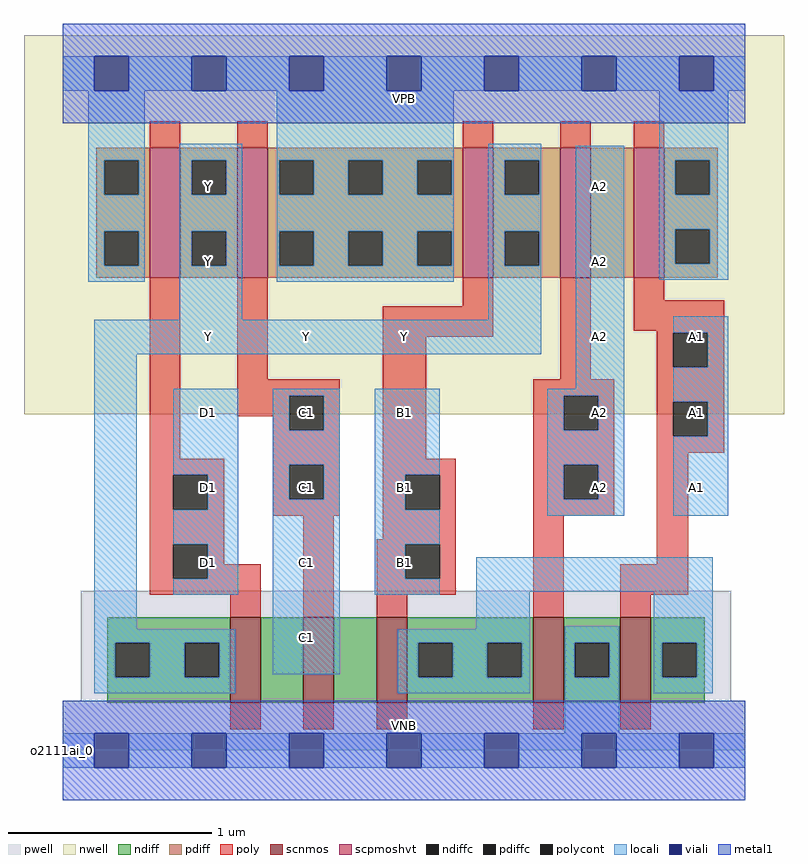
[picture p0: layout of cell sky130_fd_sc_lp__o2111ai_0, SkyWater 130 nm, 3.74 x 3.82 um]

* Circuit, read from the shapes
.subckt sky130_fd_sc_lp__o2111ai_0 A1 A2 B1 C1 D1 VGND VNB VPB VPWR Y
XM1 n1 D1 Y VNB sky130_fd_pr__nfet_01v8 w=0.42 l=0.15
XM2 n2 C1 n1 VNB sky130_fd_pr__nfet_01v8 w=0.42 l=0.15
XM3 n3 B1 n2 VNB sky130_fd_pr__nfet_01v8 w=0.42 l=0.15
XM4 VGND A2 n3 VNB sky130_fd_pr__nfet_01v8 w=0.42 l=0.15
XM5 n3 A1 VGND VNB sky130_fd_pr__nfet_01v8 w=0.42 l=0.15
XM6 Y D1 VPWR VPB sky130_fd_pr__pfet_01v8_hvt w=0.64 l=0.15
XM7 VPWR C1 Y VPB sky130_fd_pr__pfet_01v8_hvt w=0.64 l=0.15
XM8 Y B1 VPWR VPB sky130_fd_pr__pfet_01v8_hvt w=0.64 l=0.15
XM9 n4 A2 Y VPB sky130_fd_pr__pfet_01v8_hvt w=0.64 l=0.15
XM10 VPWR A1 n4 VPB sky130_fd_pr__pfet_01v8_hvt w=0.64 l=0.15
.ends

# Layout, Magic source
magic
tech sky130A
magscale 1 2
<< nwell >>
rect -38 331 710 704
<< pwell >>
rect 18 49 658 157
rect 0 0 672 49
<< scnmos >>
rect 165 47 195 131
rect 237 47 267 131
rect 309 47 339 131
rect 463 47 493 131
rect 549 47 579 131
<< scpmoshvt >>
rect 86 465 116 593
rect 172 465 202 593
rect 394 465 424 593
rect 490 465 520 593
rect 562 465 592 593
<< ndiff >>
rect 44 106 165 131
rect 44 72 52 106
rect 86 72 120 106
rect 154 72 165 106
rect 44 47 165 72
rect 195 47 237 131
rect 267 47 309 131
rect 339 106 463 131
rect 339 72 350 106
rect 384 72 418 106
rect 452 72 463 106
rect 339 47 463 72
rect 493 106 549 131
rect 493 72 504 106
rect 538 72 549 106
rect 493 47 549 72
rect 579 106 632 131
rect 579 72 590 106
rect 624 72 632 106
rect 579 47 632 72
<< pdiff >>
rect 33 581 86 593
rect 33 547 41 581
rect 75 547 86 581
rect 33 511 86 547
rect 33 477 41 511
rect 75 477 86 511
rect 33 465 86 477
rect 116 581 172 593
rect 116 547 127 581
rect 161 547 172 581
rect 116 511 172 547
rect 116 477 127 511
rect 161 477 172 511
rect 116 465 172 477
rect 202 581 394 593
rect 202 547 213 581
rect 247 547 281 581
rect 315 547 349 581
rect 383 547 394 581
rect 202 511 394 547
rect 202 477 213 511
rect 247 477 281 511
rect 315 477 349 511
rect 383 477 394 511
rect 202 465 394 477
rect 424 581 490 593
rect 424 547 435 581
rect 469 547 490 581
rect 424 511 490 547
rect 424 477 435 511
rect 469 477 490 511
rect 424 465 490 477
rect 520 465 562 593
rect 592 581 645 593
rect 592 547 603 581
rect 637 547 645 581
rect 592 513 645 547
rect 592 479 603 513
rect 637 479 645 513
rect 592 465 645 479
<< ndiffc >>
rect 52 72 86 106
rect 120 72 154 106
rect 350 72 384 106
rect 418 72 452 106
rect 504 72 538 106
rect 590 72 624 106
<< pdiffc >>
rect 41 547 75 581
rect 41 477 75 511
rect 127 547 161 581
rect 127 477 161 511
rect 213 547 247 581
rect 281 547 315 581
rect 349 547 383 581
rect 213 477 247 511
rect 281 477 315 511
rect 349 477 383 511
rect 435 547 469 581
rect 435 477 469 511
rect 603 547 637 581
rect 603 479 637 513
<< poly >>
rect 86 593 116 619
rect 172 593 202 619
rect 394 593 424 619
rect 490 593 520 619
rect 562 593 592 619
rect 86 287 116 465
rect 172 365 202 465
rect 394 437 424 465
rect 315 407 424 437
rect 172 349 273 365
rect 172 329 223 349
rect 207 315 223 329
rect 257 315 273 349
rect 86 271 159 287
rect 86 237 109 271
rect 143 237 159 271
rect 86 203 159 237
rect 207 281 273 315
rect 207 247 223 281
rect 257 247 273 281
rect 207 231 273 247
rect 315 287 358 407
rect 490 365 520 465
rect 562 443 592 465
rect 562 413 651 443
rect 585 411 651 413
rect 585 377 601 411
rect 635 377 651 411
rect 463 349 543 365
rect 463 315 493 349
rect 527 315 543 349
rect 315 271 387 287
rect 315 237 337 271
rect 371 237 387 271
rect 86 169 109 203
rect 143 183 159 203
rect 143 169 195 183
rect 86 153 195 169
rect 165 131 195 153
rect 237 131 267 231
rect 315 208 387 237
rect 309 203 387 208
rect 309 169 337 203
rect 371 169 387 203
rect 309 153 387 169
rect 463 281 543 315
rect 463 247 493 281
rect 527 247 543 281
rect 463 231 543 247
rect 585 343 651 377
rect 585 309 601 343
rect 635 309 651 343
rect 585 293 651 309
rect 309 131 339 153
rect 463 131 493 231
rect 585 183 616 293
rect 549 153 616 183
rect 549 131 579 153
rect 165 21 195 47
rect 237 21 267 47
rect 309 21 339 47
rect 463 21 493 47
rect 549 21 579 47
<< polycont >>
rect 223 315 257 349
rect 109 237 143 271
rect 223 247 257 281
rect 601 377 635 411
rect 493 315 527 349
rect 337 237 371 271
rect 109 169 143 203
rect 337 169 371 203
rect 493 247 527 281
rect 601 309 635 343
<< locali >>
rect 0 649 31 683
rect 65 649 127 683
rect 161 649 223 683
rect 257 649 319 683
rect 353 649 415 683
rect 449 649 511 683
rect 545 649 607 683
rect 641 649 672 683
rect 25 581 81 649
rect 25 547 41 581
rect 75 547 81 581
rect 25 511 81 547
rect 25 477 41 511
rect 75 477 81 511
rect 25 461 81 477
rect 115 581 177 597
rect 115 547 127 581
rect 161 547 177 581
rect 115 511 177 547
rect 115 477 127 511
rect 161 477 177 511
rect 115 424 177 477
rect 211 581 385 649
rect 211 547 213 581
rect 247 547 281 581
rect 315 547 349 581
rect 383 547 385 581
rect 211 511 385 547
rect 211 477 213 511
rect 247 477 281 511
rect 315 477 349 511
rect 383 477 385 511
rect 211 461 385 477
rect 419 581 471 597
rect 419 547 435 581
rect 469 547 471 581
rect 419 511 471 547
rect 419 477 435 511
rect 469 477 471 511
rect 419 424 471 477
rect 31 390 471 424
rect 31 119 73 390
rect 505 356 553 595
rect 587 581 655 649
rect 587 547 603 581
rect 637 547 655 581
rect 587 513 655 547
rect 587 479 603 513
rect 637 479 655 513
rect 587 463 655 479
rect 109 271 173 356
rect 143 237 173 271
rect 109 203 173 237
rect 143 169 173 203
rect 109 153 173 169
rect 207 349 273 356
rect 207 315 223 349
rect 257 315 273 349
rect 207 281 273 315
rect 207 247 223 281
rect 257 247 273 281
rect 31 106 170 119
rect 31 72 52 106
rect 86 72 120 106
rect 154 72 170 106
rect 207 75 273 247
rect 307 271 371 356
rect 307 237 337 271
rect 307 203 371 237
rect 477 349 553 356
rect 477 315 493 349
rect 527 315 553 349
rect 477 281 553 315
rect 477 247 493 281
rect 527 247 553 281
rect 477 231 553 247
rect 601 411 655 427
rect 635 377 655 411
rect 601 343 655 377
rect 635 309 655 343
rect 601 231 655 309
rect 307 169 337 203
rect 307 153 371 169
rect 407 156 640 190
rect 407 119 460 156
rect 330 106 460 119
rect 31 56 170 72
rect 330 72 350 106
rect 384 72 418 106
rect 452 72 460 106
rect 330 56 460 72
rect 494 106 548 122
rect 494 72 504 106
rect 538 72 548 106
rect 494 17 548 72
rect 582 106 640 156
rect 582 72 590 106
rect 624 72 640 106
rect 582 56 640 72
rect 0 -17 31 17
rect 65 -17 127 17
rect 161 -17 223 17
rect 257 -17 319 17
rect 353 -17 415 17
rect 449 -17 511 17
rect 545 -17 607 17
rect 641 -17 672 17
<< viali >>
rect 31 649 65 683
rect 127 649 161 683
rect 223 649 257 683
rect 319 649 353 683
rect 415 649 449 683
rect 511 649 545 683
rect 607 649 641 683
rect 31 -17 65 17
rect 127 -17 161 17
rect 223 -17 257 17
rect 319 -17 353 17
rect 415 -17 449 17
rect 511 -17 545 17
rect 607 -17 641 17
<< metal1 >>
rect 0 683 672 715
rect 0 649 31 683
rect 65 649 127 683
rect 161 649 223 683
rect 257 649 319 683
rect 353 649 415 683
rect 449 649 511 683
rect 545 649 607 683
rect 641 649 672 683
rect 0 617 672 649
rect 0 17 672 49
rect 0 -17 31 17
rect 65 -17 127 17
rect 161 -17 223 17
rect 257 -17 319 17
rect 353 -17 415 17
rect 449 -17 511 17
rect 545 -17 607 17
rect 641 -17 672 17
rect 0 -49 672 -17
<< labels >>
flabel pwell s 0 0 672 49 0 FreeSans 200 0 0 0 VNB
port 7 nsew ground bidirectional
flabel nwell s 0 617 672 666 0 FreeSans 200 0 0 0 VPB
port 8 nsew power bidirectional
rlabel comment s 0 0 0 0 4 o2111ai_0
flabel metal1 s 0 617 672 666 0 FreeSans 340 0 0 0 VPWR
port 9 nsew power bidirectional
flabel metal1 s 0 0 672 49 0 FreeSans 340 0 0 0 VGND
port 6 nsew ground bidirectional
flabel locali s 607 242 641 276 0 FreeSans 340 0 0 0 A1
port 1 nsew signal input
flabel locali s 607 316 641 350 0 FreeSans 340 0 0 0 A1
port 1 nsew signal input
flabel locali s 607 390 641 424 0 FreeSans 340 0 0 0 A1
port 1 nsew signal input
flabel locali s 511 242 545 276 0 FreeSans 340 0 0 0 A2
port 2 nsew signal input
flabel locali s 511 316 545 350 0 FreeSans 340 0 0 0 A2
port 2 nsew signal input
flabel locali s 511 390 545 424 0 FreeSans 340 0 0 0 A2
port 2 nsew signal input
flabel locali s 511 464 545 498 0 FreeSans 340 0 0 0 A2
port 2 nsew signal input
flabel locali s 511 538 545 572 0 FreeSans 340 0 0 0 A2
port 2 nsew signal input
flabel locali s 319 168 353 202 0 FreeSans 340 0 0 0 B1
port 3 nsew signal input
flabel locali s 319 242 353 276 0 FreeSans 340 0 0 0 B1
port 3 nsew signal input
flabel locali s 319 316 353 350 0 FreeSans 340 0 0 0 B1
port 3 nsew signal input
flabel locali s 223 94 257 128 0 FreeSans 340 0 0 0 C1
port 4 nsew signal input
flabel locali s 223 168 257 202 0 FreeSans 340 0 0 0 C1
port 4 nsew signal input
flabel locali s 223 242 257 276 0 FreeSans 340 0 0 0 C1
port 4 nsew signal input
flabel locali s 223 316 257 350 0 FreeSans 340 0 0 0 C1
port 4 nsew signal input
flabel locali s 127 168 161 202 0 FreeSans 340 0 0 0 D1
port 5 nsew signal input
flabel locali s 127 242 161 276 0 FreeSans 340 0 0 0 D1
port 5 nsew signal input
flabel locali s 127 316 161 350 0 FreeSans 340 0 0 0 D1
port 5 nsew signal input
flabel locali s 127 390 161 424 0 FreeSans 340 0 0 0 Y
port 10 nsew signal output
flabel locali s 223 390 257 424 0 FreeSans 340 0 0 0 Y
port 10 nsew signal output
flabel locali s 319 390 353 424 0 FreeSans 340 0 0 0 Y
port 10 nsew signal output
flabel locali s 127 538 161 572 0 FreeSans 340 0 0 0 Y
port 10 nsew signal output
flabel locali s 127 464 161 498 0 FreeSans 340 0 0 0 Y
port 10 nsew signal output
<< properties >>
string LEFsite unit
string LEFclass CORE
string FIXED_BBOX 0 0 672 666
string GDS_FILE $PDKPATH/libs.ref/sky130_fd_sc_lp/gds/sky130_fd_sc_lp.gds
string LEFsymmetry X Y R90
string GDS_END 4908518
string GDS_START 4899780
<< end >>
